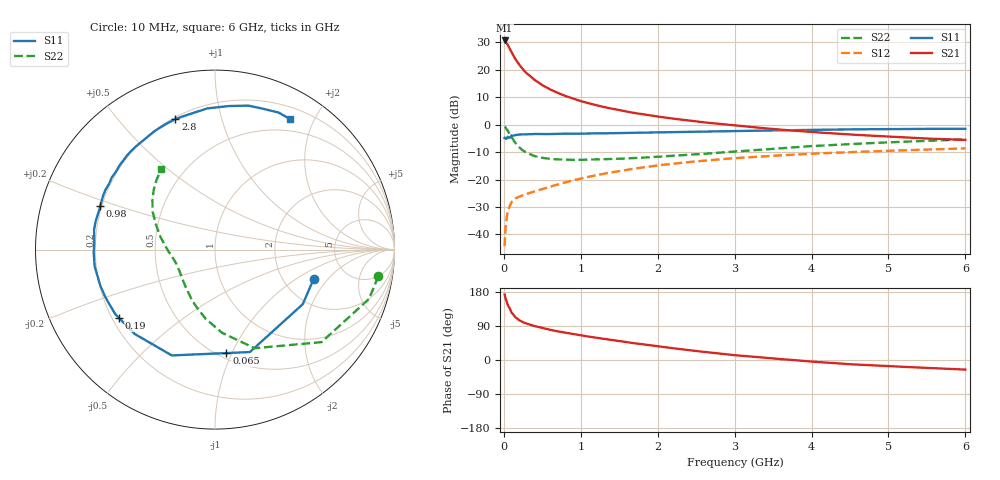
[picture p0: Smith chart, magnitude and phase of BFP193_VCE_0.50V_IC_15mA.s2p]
! Infineon Technologies  Discrete & RF Semiconductors
! BFP193
! VCE = 0.50V,  IC =  15 mA
! Common Emitter S-Parameters:  Jan 2016
# GHz  S  MA  R  50
!  f  S11  S21  S12  S22
! GHz  MAG  ANG  MAG  ANG  MAG  ANG  MAG  ANG
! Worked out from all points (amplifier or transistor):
!   210 points, 10 MHz to 6 GHz, reference 50 ohm
!   highest |S21| = 30.7 dB at 10 MHz (marker M1)
!   |S21| within 3 dB of that: start of sweep to 75.82 MHz
!   unconditionally stable (mu >= 1): 699.6 MHz to end of sweep
!   at 185 MHz: K = 0.45, MSG = 24.5 dB, |S12| = -26.4 dB
!   at 1.52 GHz: K = 1.13, MAG = 8.8 dB, |S12| = -16.8 dB
!   at 6 GHz: K = 1.02, MAG = 0.6 dB, |S12| = -8.7 dB
!   S11 on the Smith chart (normalised r, x): 10 MHz: 2.92, -1.43; 65 MHz: 0.55, -0.95; 190 MHz: 0.23, -0.31; 980 MHz: 0.19, +0.18; 2.8 GHz: 0.21, +0.72; 6 GHz: 0.34, +1.68
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0.01  0.5736 -16.6  34.3 172.8  0.0061 83.5  0.9225 -9.3
0.02  0.5758 -31.9  32.81 164.3  0.0122 76.7  0.9008 -17.8
0.05  0.603 -71.2  28.62 145.4  0.0262 61.7  0.786 -41.0
0.065  0.58 -83.7  26.02 140.5  0.0298 56.3  0.7129 -47.5
0.1  0.6369 -112.2  20.98 124.8  0.0388 47.9  0.5921 -68.1
0.15  0.6489 -133.6  15.69 112.6  0.0452 41.5  0.4642 -85.3
0.19  0.6564 -144.4  13.05 106.7  0.048 39.3  0.4012 -95.0
0.2  0.6618 -147.0  12.42 104.9  0.0487 38.8  0.3876 -97.9
0.24  0.6637 -154.3  10.56 100.7  0.0513 38.6  0.3459 -105.5
0.3  0.6697 -162.4  8.56 95.5  0.055 39.5  0.3074 -115.0
0.4  0.6771 -172.1  6.537 89.3  0.0607 41.9  0.2681 -126.9
0.5  0.676 -178.4  5.251 84.4  0.0669 43.8  0.2486 -135.6
0.7  0.6829 170.7  3.801 75.4  0.0808 47.3  0.2326 -147.0
0.98  0.6837 159.3  2.746 65.9  0.1023 49.0  0.2284 -157.2
1.02  0.6858 157.8  2.642 64.6  0.1053 49.1  0.2289 -158.3
1.4  0.7017 145.1  1.959 53.0  0.1352 47.9  0.2363 -167.0
2.02  0.7246 127.0  1.395 35.8  0.1821 42.7  0.2613 -178.6
2.8  0.7599 106.9  1.035 17.1  0.2331 33.6  0.31 167.3
3.1  0.7674 100.7  0.939 11.1  0.25 30.0  0.3308 162.2
4.1  0.8065 82.9  0.72 -5.5  0.2997 18.3  0.414 147.1
5.1  0.8312 69.7  0.596 -17.2  0.3375 7.5  0.483 134.4
6  0.8388 60.0  0.528 -25.3  0.3693 -1.9  0.5385 123.8
